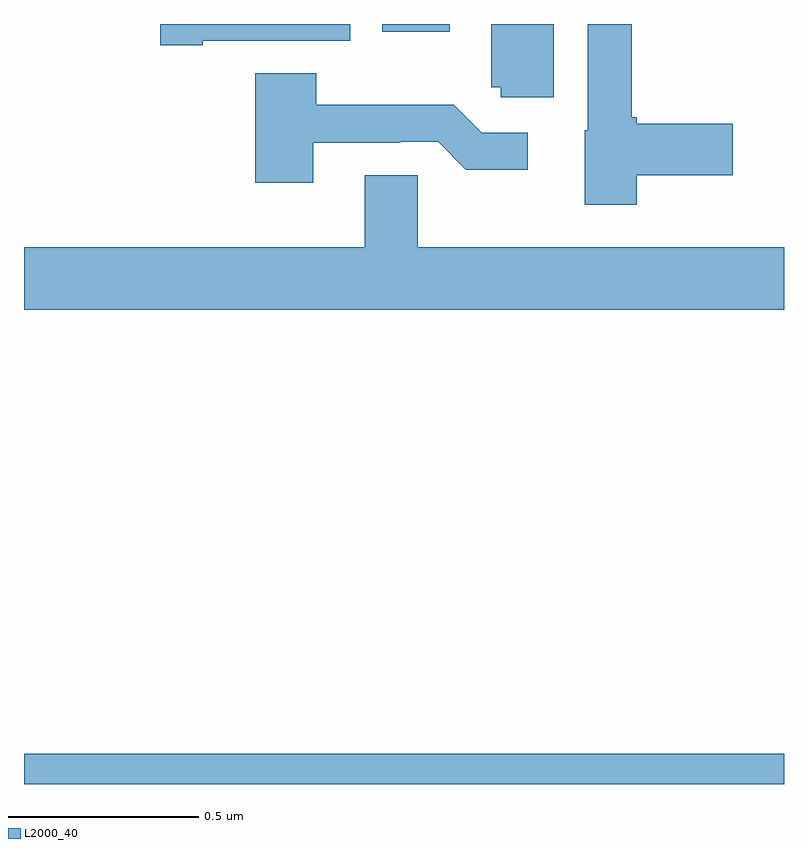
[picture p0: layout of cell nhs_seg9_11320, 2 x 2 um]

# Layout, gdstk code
import gdstk
lib = gdstk.Library(unit=1e-6, precision=1e-09)
def R(c, l, rs):  # rectangles x0, y0, x1, y1
    for r in rs: c.add(gdstk.rectangle(r[:2], r[2:], *l))
def P(c, l, *ps):  # polygons
    for p in ps: c.add(gdstk.Polygon(p, *l))
L2000_40 = (2000, 40)

nhs_seg9_11320 = lib.new_cell('nhs_seg9_11320')
R(nhs_seg9_11320, L2000_40, [(254,1200.5,256,1200.58), (254.943,1202.48,255.121,1202.5)])
P(nhs_seg9_11320, L2000_40, [(255.612,1202.102),(255.865,1202.102),(255.865,1202.237),(255.612,1202.237),(255.612,1202.255),(255.599,1202.255),(255.599,1202.5),(255.483,1202.5),(255.483,1202.22),(255.476,1202.22),(255.476,1202.024),(255.612,1202.024)],
  [(255.394,1202.5),(255.23,1202.5),(255.23,1202.334),(255.255,1202.334),(255.255,1202.307),(255.394,1202.307)],
  [(254.47,1202.456),(254.858,1202.456),(254.858,1202.5),(254.358,1202.5),(254.358,1202.444),(254.47,1202.444)],
  [(254.761,1202.187),(254.99,1202.187),(254.99,1202.19),(255.09,1202.19),(255.163,1202.117),(255.325,1202.117),(255.325,1202.214),(255.204,1202.214),(255.131,1202.287),(254.769,1202.287),(254.769,1202.371),(254.609,1202.371),(254.609,1202.082),(254.761,1202.082)],
  [(256,1201.912),(255.036,1201.912),(255.036,1202.102),(254.897,1202.102),(254.897,1201.912),(254,1201.912),(254,1201.748),(256,1201.748)])

lib.write_gds('nhs_seg9_11320.gds')
